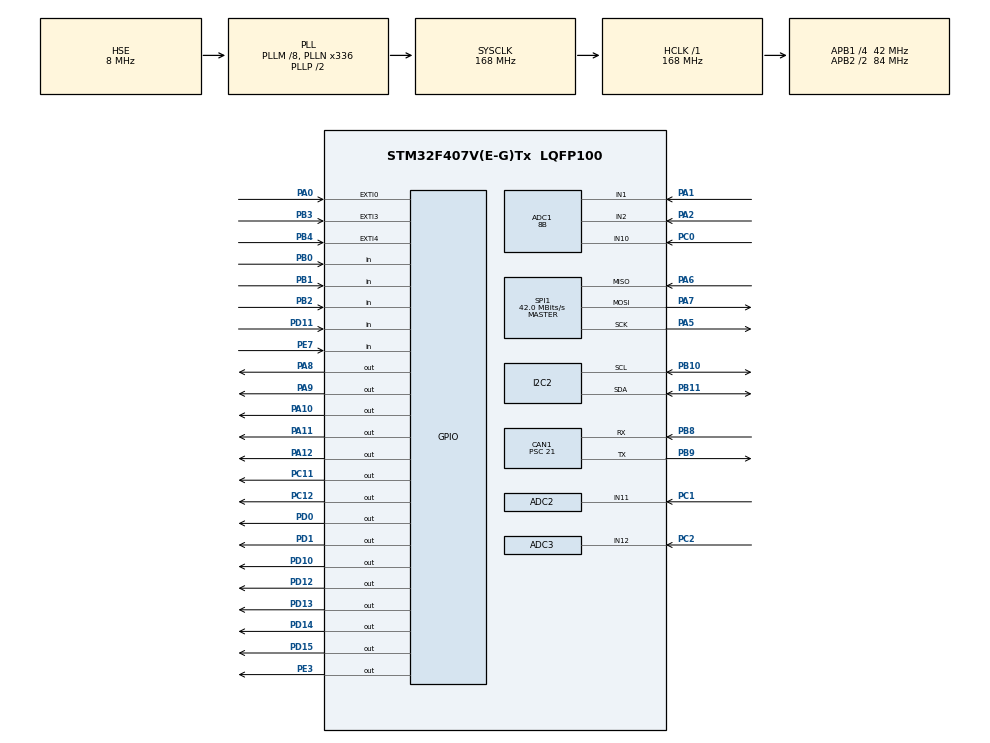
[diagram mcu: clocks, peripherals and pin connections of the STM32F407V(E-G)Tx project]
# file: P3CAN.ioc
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ADC1.Channel-0\#ChannelRegularConversion=ADC_CHANNEL_1
ADC1.ClockPrescaler=ADC_CLOCK_SYNC_PCLK_DIV4
ADC1.ContinuousConvMode=DISABLE
ADC1.DMAContinuousRequests=DISABLE
ADC1.DataAlign=ADC_DATAALIGN_RIGHT
ADC1.DiscontinuousConvMode=DISABLE
ADC1.EOCSelection=ADC_EOC_SINGLE_CONV
ADC1.EnableAnalogWatchDog=false
ADC1.ExternalTrigConv=ADC_SOFTWARE_START
ADC1.ExternalTrigConvEdge=ADC_EXTERNALTRIGCONVEDGE_NONE
ADC1.InjNumberOfConversion=0
ADC1.NbrOfConversion=1
ADC1.NbrOfConversionFlag=1
ADC1.Rank-0\#ChannelRegularConversion=1
ADC1.Resolution=ADC_RESOLUTION_8B
ADC1.SamplingTime-0\#ChannelRegularConversion=ADC_SAMPLETIME_28CYCLES
ADC1.ScanConvMode=DISABLE
ADC1.master=1
ADC2.Channel-0\#ChannelRegularConversion=ADC_CHANNEL_11
ADC2.NbrOfConversionFlag=1
ADC2.Rank-0\#ChannelRegularConversion=1
ADC2.SamplingTime-0\#ChannelRegularConversion=ADC_SAMPLETIME_3CYCLES
ADC3.Channel-0\#ChannelRegularConversion=ADC_CHANNEL_12
ADC3.NbrOfConversionFlag=1
ADC3.Rank-0\#ChannelRegularConversion=1
ADC3.SamplingTime-0\#ChannelRegularConversion=ADC_SAMPLETIME_3CYCLES
CAN1.BS1=CAN_BS1_12TQ
CAN1.BS2=CAN_BS2_4TQ
CAN1.CalculateBaudRate=117647
CAN1.CalculateTimeBit=8500
CAN1.CalculateTimeQuantum=500.0
CAN1.Prescaler=21
FREERTOS.BinarySemaphores01=Semaforo_1,Dynamic,NULL,Available
FREERTOS.INCLUDE_vTaskDelayUntil=1
FREERTOS.Mutexes01=mutex1,Dynamic,NULL
FREERTOS.Tasks01=Tarea1,-3,128,StartTarea1,Default,NULL,Dynamic,NULL,NULL;myTask02,-2,128,StartTask02,Default,NULL,Dynamic,NULL,NULL;myTask03,-3,128,StartTask03,Default,NULL,Dynamic,NULL,NULL;myTask04,-3,128,StartTask04,Default,NULL,Dynamic,NULL,NULL;myTask05,-3,128,StartTask05,Default,NULL,Dynamic,NULL,NULL
Mcu.Family=STM32F4
Mcu.Name=STM32F407V(E-G)Tx
Mcu.Package=LQFP100
NVIC.CAN1_RX0_IRQn=true\:5\:0\:true\:false\:true\:true\:true\:true\:true
NVIC.EXTI0_IRQn=true\:0\:0\:true\:false\:true\:true\:true\:true\:true
NVIC.EXTI3_IRQn=true\:5\:0\:false\:false\:true\:false\:true\:true\:true
NVIC.I2C2_EV_IRQn=true\:5\:0\:false\:false\:true\:true\:true\:true\:true
NVIC.PriorityGroup=NVIC_PRIORITYGROUP_4
NVIC.TIM1_UP_TIM10_IRQn=true\:0\:0\:false\:false\:true\:false\:false\:true\:true
NVIC.TimeBase=TIM1_UP_TIM10_IRQn
NVIC.TimeBaseIP=TIM1
PA0-WKUP.Signal=GPXTI0
PA1.Signal=ADCx_IN1
PA10.Signal=GPIO_Output
PA11.Signal=GPIO_Output
PA12.Signal=GPIO_Output
PA2.Signal=ADCx_IN2
PA5.Mode=Full_Duplex_Master
PA5.Signal=SPI1_SCK
PA6.Mode=Full_Duplex_Master
PA6.Signal=SPI1_MISO
PA7.Mode=Full_Duplex_Master
PA7.Signal=SPI1_MOSI
PA8.Signal=GPIO_Output
PA9.Signal=GPIO_Output
PB0.Signal=GPIO_Input
PB1.Signal=GPIO_Input
PB10.GPIO_Pu=GPIO_PULLUP
PB10.Mode=I2C
PB10.Signal=I2C2_SCL
PB11.GPIO_Pu=GPIO_PULLUP
PB11.Mode=I2C
PB11.Signal=I2C2_SDA
PB2.Signal=GPIO_Input
PB3.Signal=GPXTI3
PB4.Signal=GPXTI4
PB8.Mode=CAN_Activate
PB8.Signal=CAN1_RX
PB9.Mode=CAN_Activate
PB9.Signal=CAN1_TX
PC0.Signal=ADCx_IN10
PC1.Signal=ADCx_IN11
PC11.Signal=GPIO_Output
PC12.Signal=GPIO_Output
PC2.Signal=ADCx_IN12
PD0.Signal=GPIO_Output
PD1.Signal=GPIO_Output
PD10.Signal=GPIO_Output
PD11.Signal=GPIO_Input
PD12.Signal=GPIO_Output
PD13.Signal=GPIO_Output
PD14.Signal=GPIO_Output
PD15.Signal=GPIO_Output
PE3.Signal=GPIO_Output
PE7.Signal=GPIO_Input
PH0-OSC_IN.Mode=HSE-External-Oscillator
PH0-OSC_IN.Signal=RCC_OSC_IN
PH1-OSC_OUT.Mode=HSE-External-Oscillator
PH1-OSC_OUT.Signal=RCC_OSC_OUT
ProjectManager.HeapSize=0x200
ProjectManager.StackSize=0x400
ProjectManager.TargetToolchain=STM32CubeIDE
RCC.48MHZClocksFreq_Value=48000000
RCC.AHBFreq_Value=168000000
RCC.APB1CLKDivider=RCC_HCLK_DIV4
RCC.APB1Freq_Value=42000000
RCC.APB1TimFreq_Value=84000000
RCC.APB2CLKDivider=RCC_HCLK_DIV2
RCC.APB2Freq_Value=84000000
RCC.APB2TimFreq_Value=168000000
RCC.CortexFreq_Value=168000000
RCC.HCLKFreq_Value=168000000
RCC.HSE_VALUE=8000000
RCC.HSI_VALUE=16000000
RCC.LSE_VALUE=32768
RCC.PLLM=8
RCC.PLLN=336
RCC.PLLQ=7
RCC.PLLSourceVirtual=RCC_PLLSOURCE_HSE
RCC.SYSCLKFreq_VALUE=168000000
RCC.SYSCLKSource=RCC_SYSCLKSOURCE_PLLCLK
RCC.VCOOutputFreq_Value=336000000
SH.ADCx_IN1.0=ADC1_IN1,IN1
SH.ADCx_IN10.0=ADC1_IN10,IN10
SH.ADCx_IN11.0=ADC2_IN11,IN11
SH.ADCx_IN12.0=ADC3_IN12,IN12
SH.ADCx_IN2.0=ADC1_IN2,IN2
SPI1.CalculateBaudRate=42.0 MBits/s
SPI1.Direction=SPI_DIRECTION_2LINES
SPI1.Mode=SPI_MODE_MASTER
SPI1.VirtualType=VM_MASTER
VP_FREERTOS_VS_CMSIS_V1.Mode=CMSIS_V1
VP_SYS_VS_tim1.Mode=TIM1
board=STM32F4DISCOVERY

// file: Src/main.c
/* USER CODE BEGIN Header */
/**
 *
 *      Authors: Héctor Borreguero Monleón y Francisco Javier Díaz Ventura
 *
  ******************************************************************************
  * @file           : main.c
  * @brief          : Main program body
  ******************************************************************************
  * This notice applies to any and all portions of this file
  * that are not between comment pairs USER CODE BEGIN and
  * USER CODE END. Other portions of this file, whether
  * inserted by the user or by software development tools
  * are owned by their respective copyright owners.
  *
  * Copyright (c) 2021 STMicroelectronics International N.V.
  * All rights reserved.
  *
  * Redistribution and use in source and binary forms, with or without
  * modification, are permitted, provided that the following conditions are met:
  *
  * 1. Redistribution of source code must retain the above copyright notice,
  *    this list of conditions and the following disclaimer.
  * 2. Redistributions in binary form must reproduce the above copyright notice,
  *    this list of conditions and the following disclaimer in the documentation
  *    and/or other materials provided with the distribution.
  * 3. Neither the name of STMicroelectronics nor the names of other
  *    contributors to this software may be used to endorse or promote products
  *    derived from this software without specific written permission.
  * 4. This software, including modifications and/or derivative works of this
  *    software, must execute solely and exclusively on microcontroller or
  *    microprocessor devices manufactured by or for STMicroelectronics.
  * 5. Redistribution and use of this software other than as permitted under
  *    this license is void and will automatically terminate your rights under
  *    this license.
  *
  * THIS SOFTWARE IS PROVIDED BY STMICROELECTRONICS AND CONTRIBUTORS "AS IS"
  * AND ANY EXPRESS, IMPLIED OR STATUTORY WARRANTIES, INCLUDING, BUT NOT
  * LIMITED TO, THE IMPLIED WARRANTIES OF MERCHANTABILITY, FITNESS FOR A
  * PARTICULAR PURPOSE AND NON-INFRINGEMENT OF THIRD PARTY INTELLECTUAL PROPERTY
  * RIGHTS ARE DISCLAIMED TO THE FULLEST EXTENT PERMITTED BY LAW. IN NO EVENT
  * SHALL STMICROELECTRONICS OR CONTRIBUTORS BE LIABLE FOR ANY DIRECT, INDIRECT,
  * INCIDENTAL, SPECIAL, EXEMPLARY, OR CONSEQUENTIAL DAMAGES (INCLUDING, BUT NOT
  * LIMITED TO, PROCUREMENT OF SUBSTITUTE GOODS OR SERVICES; LOSS OF USE, DATA,
  * OR PROFITS; OR BUSINESS INTERRUPTION) HOWEVER CAUSED AND ON ANY THEORY OF
  * LIABILITY, WHETHER IN CONTRACT, STRICT LIABILITY, OR TORT (INCLUDING
  * NEGLIGENCE OR OTHERWISE) ARISING IN ANY WAY OUT OF THE USE OF THIS SOFTWARE,
  * EVEN IF ADVISED OF THE POSSIBILITY OF SUCH DAMAGE.
  *
  ******************************************************************************
  */
/* USER CODE END Header */
#include "main.h"
#include "adc.h"
#include "can.h"
#include "i2c.h"
#include "spi.h"
#include "gpio.h"

/* USER CODE BEGIN Includes */

#include "FreeRTOS.h"
#include "semphr.h"
#include "task.h"
#include <math.h>

#include "T1Altitude.h"
#include "T2Incliantion.h"
#include "T3Vibration.h"
#include "T4Activation.h"
#include "T5Motor.h"

/* USER CODE END Includes */

/* USER CODE BEGIN PTD */
#define TRUE 1
#define FALSE 0
/* USER CODE END PTD */

/* USER CODE BEGIN PD */
#define PR_TAREA1 1
#define PR_TAREA2 2
#define PR_TAREA3 3
#define PR_TAREA4 4
#define PR_TAREA5 5

/* USER CODE END PD */

/* USER CODE BEGIN PM */
TaskHandle_t Task04Handle = NULL;
SemaphoreHandle_t xMutexBalanceComm = NULL;
SemaphoreHandle_t xMutexEmergencies = NULL;
SemaphoreHandle_t xMutexTargetCurrentAltitude = NULL;
SemaphoreHandle_t xMutexAltitudeComm = NULL;

/* USER CODE END PM */

void SystemClock_Config(void);
void MX_FREERTOS_Init(void);
/* USER CODE BEGIN PFP */
int emergency= 0;

double RX = 0;
double RY = 0;

int alt_ok = 0;
int target_altitud = 0;
int current_altitud = 0;

double X = 0;
double Y = 0;
double Z = 0;
/* USER CODE END PFP */

int main(void)
{

  /* MCU Configuration--------------------------------------------------------*/

  /* Reset of all peripherals, Initializes the Flash interface and the Systick. */
  HAL_Init();

  /* USER CODE BEGIN Init */
  Inicializa_Acelerometro();
  /* USER CODE END Init */

  /* Configure the system clock */
  SystemClock_Config();

  /* Initialize all configured peripherals */
  MX_GPIO_Init();
  MX_ADC1_Init();
  MX_SPI1_Init();
  MX_CAN1_Init();
  MX_ADC2_Init();
  MX_ADC3_Init();
  MX_I2C2_Init();
  /* USER CODE BEGIN 2 */
  xMutexBalanceComm = xSemaphoreCreateMutex();
  xMutexEmergencies = xSemaphoreCreateMutex();
  xMutexTargetCurrentAltitude = xSemaphoreCreateMutex();
  xMutexAltitudeComm = xSemaphoreCreateMutex();

  xTaskCreate(StartTarea1Altitude, "Tarea1", 128, NULL, PR_TAREA1, NULL);
  xTaskCreate(StartTask02Incliantion, "Tarea2", 128, NULL, PR_TAREA2, NULL);
  xTaskCreate(StartTask03Vibration, "Tarea3", 128, NULL, PR_TAREA3, NULL);
  xTaskCreate(StartTask04Activation, "Tarea4", 128, NULL, 4, &Task04Handle);
  xTaskCreate(StartTask05Motor, "Tarea5", 128, NULL, PR_TAREA5, NULL);
  /* USER CODE END 2 */

  /* Call init function for freertos objects (in cmsis_os2.c) */
  MX_FREERTOS_Init();

  /* Start scheduler */
  osKernelStart();

  /* We should never get here as control is now taken by the scheduler */

  /* Infinite loop */
  while (1)
  {

  }
}

void SystemClock_Config(void)
{
  RCC_OscInitTypeDef RCC_OscInitStruct = {0};
  RCC_ClkInitTypeDef RCC_ClkInitStruct = {0};

  /** Configure the main internal regulator output voltage
  */
  __HAL_RCC_PWR_CLK_ENABLE();
  __HAL_PWR_VOLTAGESCALING_CONFIG(PWR_REGULATOR_VOLTAGE_SCALE1);

  /** Initializes the RCC Oscillators according to the specified parameters
  * in the RCC_OscInitTypeDef structure.
  */
  RCC_OscInitStruct.OscillatorType = RCC_OSCILLATORTYPE_HSE;
  RCC_OscInitStruct.HSEState = RCC_HSE_ON;
  RCC_OscInitStruct.PLL.PLLState = RCC_PLL_ON;
  RCC_OscInitStruct.PLL.PLLSource = RCC_PLLSOURCE_HSE;
  RCC_OscInitStruct.PLL.PLLM = 8;
  RCC_OscInitStruct.PLL.PLLN = 336;
  RCC_OscInitStruct.PLL.PLLP = RCC_PLLP_DIV2;
  RCC_OscInitStruct.PLL.PLLQ = 7;
  if (HAL_RCC_OscConfig(&RCC_OscInitStruct) != HAL_OK)
  {
    Error_Handler();
  }

  /** Initializes the CPU, AHB and APB buses clocks
  */
  RCC_ClkInitStruct.ClockType = RCC_CLOCKTYPE_HCLK|RCC_CLOCKTYPE_SYSCLK
                              |RCC_CLOCKTYPE_PCLK1|RCC_CLOCKTYPE_PCLK2;
  RCC_ClkInitStruct.SYSCLKSource = RCC_SYSCLKSOURCE_PLLCLK;
  RCC_ClkInitStruct.AHBCLKDivider = RCC_SYSCLK_DIV1;
  RCC_ClkInitStruct.APB1CLKDivider = RCC_HCLK_DIV4;
  RCC_ClkInitStruct.APB2CLKDivider = RCC_HCLK_DIV2;

  if (HAL_RCC_ClockConfig(&RCC_ClkInitStruct, FLASH_LATENCY_5) != HAL_OK)
  {
    Error_Handler();
  }
}

void HAL_TIM_PeriodElapsedCallback(TIM_HandleTypeDef *htim)
{
  if (htim->Instance == TIM1)
  {
    HAL_IncTick();
  }
}

void Error_Handler(void)
{
}

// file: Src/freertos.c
/* USER CODE BEGIN Header */
/**
  ******************************************************************************
  * File Name          : freertos.c
  * Description        : Code for freertos applications
  ******************************************************************************
  * This notice applies to any and all portions of this file
  * that are not between comment pairs USER CODE BEGIN and
  * USER CODE END. Other portions of this file, whether
  * inserted by the user or by software development tools
  * are owned by their respective copyright owners.
  *
  * Copyright (c) 2021 STMicroelectronics International N.V.
  * All rights reserved.
  *
  * Redistribution and use in source and binary forms, with or without
  * modification, are permitted, provided that the following conditions are met:
  *
  * 1. Redistribution of source code must retain the above copyright notice,
  *    this list of conditions and the following disclaimer.
  * 2. Redistributions in binary form must reproduce the above copyright notice,
  *    this list of conditions and the following disclaimer in the documentation
  *    and/or other materials provided with the distribution.
  * 3. Neither the name of STMicroelectronics nor the names of other
  *    contributors to this software may be used to endorse or promote products
  *    derived from this software without specific written permission.
  * 4. This software, including modifications and/or derivative works of this
  *    software, must execute solely and exclusively on microcontroller or
  *    microprocessor devices manufactured by or for STMicroelectronics.
  * 5. Redistribution and use of this software other than as permitted under
  *    this license is void and will automatically terminate your rights under
  *    this license.
  *
  * THIS SOFTWARE IS PROVIDED BY STMICROELECTRONICS AND CONTRIBUTORS "AS IS"
  * AND ANY EXPRESS, IMPLIED OR STATUTORY WARRANTIES, INCLUDING, BUT NOT
  * LIMITED TO, THE IMPLIED WARRANTIES OF MERCHANTABILITY, FITNESS FOR A
  * PARTICULAR PURPOSE AND NON-INFRINGEMENT OF THIRD PARTY INTELLECTUAL PROPERTY
  * RIGHTS ARE DISCLAIMED TO THE FULLEST EXTENT PERMITTED BY LAW. IN NO EVENT
  * SHALL STMICROELECTRONICS OR CONTRIBUTORS BE LIABLE FOR ANY DIRECT, INDIRECT,
  * INCIDENTAL, SPECIAL, EXEMPLARY, OR CONSEQUENTIAL DAMAGES (INCLUDING, BUT NOT
  * LIMITED TO, PROCUREMENT OF SUBSTITUTE GOODS OR SERVICES; LOSS OF USE, DATA,
  * OR PROFITS; OR BUSINESS INTERRUPTION) HOWEVER CAUSED AND ON ANY THEORY OF
  * LIABILITY, WHETHER IN CONTRACT, STRICT LIABILITY, OR TORT (INCLUDING
  * NEGLIGENCE OR OTHERWISE) ARISING IN ANY WAY OUT OF THE USE OF THIS SOFTWARE,
  * EVEN IF ADVISED OF THE POSSIBILITY OF SUCH DAMAGE.
  *
  ******************************************************************************
  */
/* USER CODE END Header */

#include "FreeRTOS.h"
#include "task.h"
#include "main.h"
#include "cmsis_os.h"
#include <math.h>

/* USER CODE BEGIN Includes */

#include "spi.h"
#include "adc.h"
/* USER CODE END Includes */

/* USER CODE BEGIN PTD */
#include "semphr.h"

/* USER CODE END PTD */

void MX_FREERTOS_Init(void); /* (MISRA C 2004 rule 8.1) */

/* GetIdleTaskMemory prototype (linked to static allocation support) */
void vApplicationGetIdleTaskMemory( StaticTask_t **ppxIdleTaskTCBBuffer, StackType_t **ppxIdleTaskStackBuffer, uint32_t *pulIdleTaskStackSize );

/* USER CODE BEGIN GET_IDLE_TASK_MEMORY */
static StaticTask_t xIdleTaskTCBBuffer;
static StackType_t xIdleStack[configMINIMAL_STACK_SIZE];

void vApplicationGetIdleTaskMemory( StaticTask_t **ppxIdleTaskTCBBuffer, StackType_t **ppxIdleTaskStackBuffer, uint32_t *pulIdleTaskStackSize )
{
  *ppxIdleTaskTCBBuffer = &xIdleTaskTCBBuffer;
  *ppxIdleTaskStackBuffer = &xIdleStack[0];
  *pulIdleTaskStackSize = configMINIMAL_STACK_SIZE;
  /* place for user code */
}
/* USER CODE END GET_IDLE_TASK_MEMORY */

void MX_FREERTOS_Init(void) {
  /* Create the mutex(es) */
  /* definition and creation of mutex1 */

  /* Create the semaphores(s) */
  /* definition and creation of Semaforo_1 */

  /* Create the thread(s) */
  /* definition and creation of Tarea1 */

}
